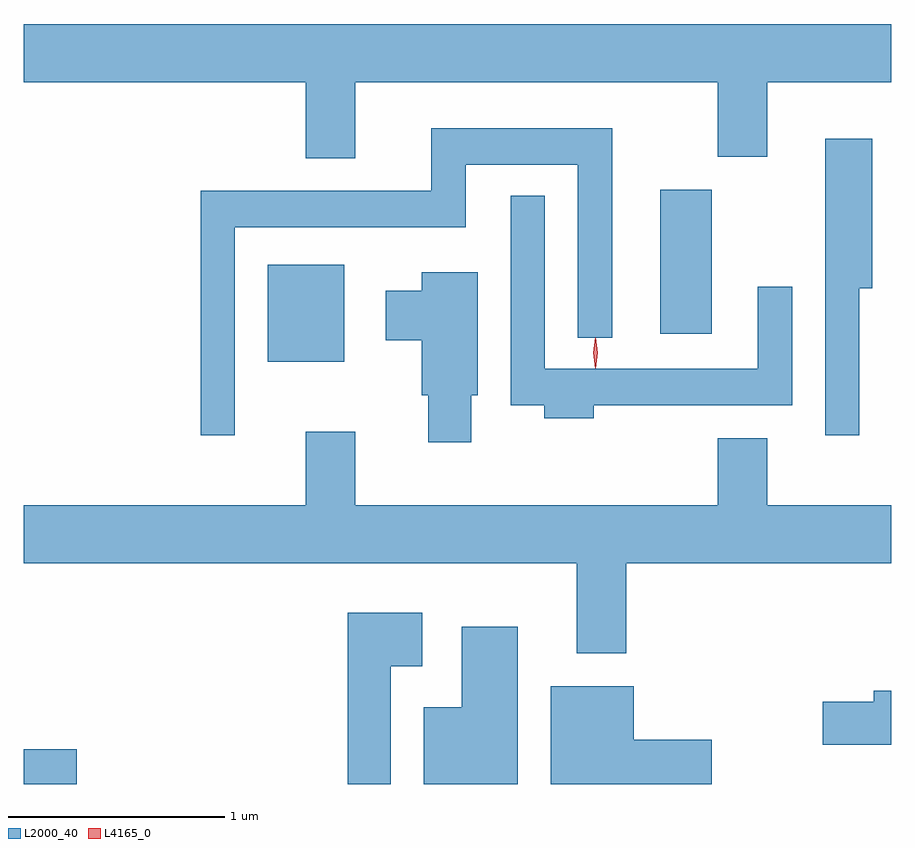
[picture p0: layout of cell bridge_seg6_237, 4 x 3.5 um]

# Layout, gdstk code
import gdstk
lib = gdstk.Library(unit=1e-6, precision=1e-09)
def R(c, l, rs):  # rectangles x0, y0, x1, y1
    for r in rs: c.add(gdstk.rectangle(r[:2], r[2:], *l))
def P(c, l, *ps):  # polygons
    for p in ps: c.add(gdstk.Polygon(p, *l))
L2000_40 = (2000, 40)
L4165_0 = (4165, 0)

bridge_seg6_237 = lib.new_cell('bridge_seg6_237')
R(bridge_seg6_237, L2000_40, [(1129.921,1546.799,1130.164,1546.959), (1131.046,1548.746,1131.399,1549.194), (1132.856,1548.876,1133.094,1549.539)])
P(bridge_seg6_237, L2000_40, [(1131.449,1550.036),(1133.121,1550.036),(1133.121,1549.691),(1133.349,1549.691),(1133.349,1550.036),(1133.921,1550.036),(1133.921,1550.304),(1129.921,1550.304),(1129.921,1550.036),(1131.221,1550.036),(1131.221,1549.686),(1131.449,1549.686)],
  [(1130.894,1549.366),(1131.959,1549.366),(1131.959,1549.656),(1132.476,1549.656),(1132.476,1548.858),(1132.634,1548.858),(1132.634,1549.824),(1131.801,1549.824),(1131.801,1549.534),(1130.736,1549.534),(1130.736,1548.408),(1130.894,1548.408)],
  [(1133.774,1549.086),(1133.834,1549.086),(1133.834,1549.774),(1133.616,1549.774),(1133.616,1548.408),(1133.774,1548.408)],
  [(1132.549,1548.546),(1133.464,1548.546),(1133.464,1549.093),(1133.306,1549.093),(1133.306,1548.714),(1132.324,1548.714),(1132.324,1549.513),(1132.166,1549.513),(1132.166,1548.546),(1132.321,1548.546),(1132.321,1548.486),(1132.549,1548.486)],
  [(1131.984,1548.591),(1132.014,1548.591),(1132.014,1549.159),(1131.756,1549.159),(1131.756,1549.074),(1131.591,1549.074),(1131.591,1548.846),(1131.756,1548.846),(1131.756,1548.591),(1131.786,1548.591),(1131.786,1548.376),(1131.984,1548.376)],
  [(1132.699,1547.816),(1133.921,1547.816),(1133.921,1548.084),(1133.349,1548.084),(1133.349,1548.394),(1133.121,1548.394),(1133.121,1548.084),(1131.449,1548.084),(1131.449,1548.424),(1131.221,1548.424),(1131.221,1548.084),(1129.921,1548.084),(1129.921,1547.816),(1132.471,1547.816),(1132.471,1547.401),(1132.699,1547.401)],
  [(1131.614,1547.341),(1131.759,1547.341),(1131.759,1547.589),(1131.416,1547.589),(1131.416,1546.799),(1131.614,1546.799)],
  [(1132.199,1547.524),(1131.941,1547.524),(1131.941,1547.154),(1131.766,1547.154),(1131.766,1546.799),(1132.199,1546.799)],
  [(1133.094,1547.004),(1132.734,1547.004),(1132.734,1547.249),(1132.351,1547.249),(1132.351,1546.799),(1133.094,1546.799)],
  [(1133.921,1547.229),(1133.841,1547.229),(1133.841,1547.179),(1133.606,1547.179),(1133.606,1546.981),(1133.921,1546.981)])
P(bridge_seg6_237, L4165_0, [(1132.557,1548.717),(1132.548,1548.787),(1132.557,1548.856),(1132.558,1548.856),(1132.558,1548.856),(1132.568,1548.787),(1132.558,1548.717),(1132.558,1548.717)])

lib.write_gds('bridge_seg6_237.gds')
